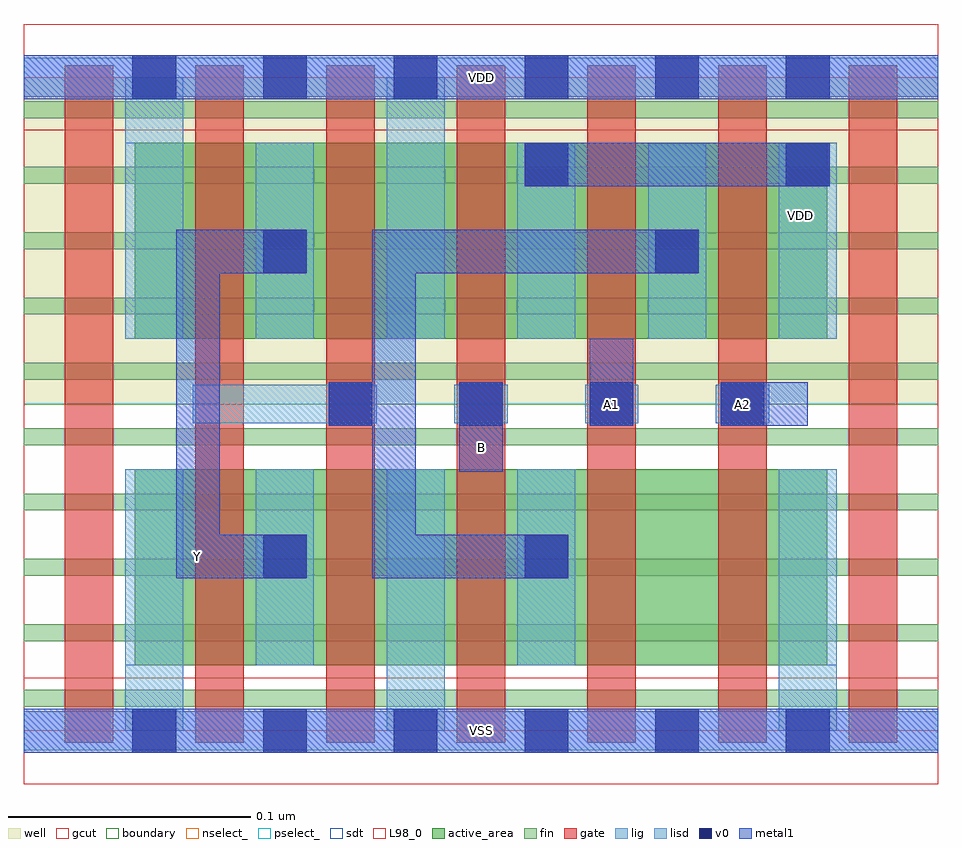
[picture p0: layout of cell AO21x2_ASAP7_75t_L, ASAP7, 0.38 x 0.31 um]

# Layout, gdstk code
import gdstk
lib = gdstk.Library(unit=1e-6, precision=2.5e-10)
def R(c, l, rs):  # rectangles x0, y0, x1, y1
    for r in rs: c.add(gdstk.rectangle(r[:2], r[2:], *l))
def A(c, l, x, y, w, h, nx, ny, dx, dy):  # array of equal rectangles
    R(c, l, [(x+i*dx, y+j*dy, x+i*dx+w, y+j*dy+h) for i in range(nx) for j in range(ny)])
def P(c, l, *ps):  # polygons
    for p in ps: c.add(gdstk.Polygon(p, *l))
well = (1, 0)
fin = (2, 0)
gate = (7, 0)
gcut = (10, 0)
active_area = (11, 0)
nselect_ = (12, 0)
pselect_ = (13, 0)
lig = (16, 0)
lisd = (17, 0)
v0 = (18, 0)
metal1 = (19, 0)
sdt = (88, 0)
L98_0 = (98, 0)
boundary = (100, 0)

ao21x2_asap7_75t_l = lib.new_cell('AO21x2_ASAP7_75t_L')
R(ao21x2_asap7_75t_l, well, [(0,0.135,0.378,0.27)])
A(ao21x2_asap7_75t_l, fin, 0, 0.01, 0.378, 0.007, 1, 10, 0, 0.027)
A(ao21x2_asap7_75t_l, gate, 0.017, -0.005, 0.02, 0.28, 7, 1, 0.054, 0)
R(ao21x2_asap7_75t_l, gcut, [(0,-0.022,0.378,0.022), (0,0.248,0.378,0.292)])
R(ao21x2_asap7_75t_l, active_area, [(0.046,0.027,0.332,0.108), (0.046,0.162,0.332,0.243)])
R(ao21x2_asap7_75t_l, nselect_, [(0,0,0.378,0.135)])
R(ao21x2_asap7_75t_l, pselect_, [(0,0.135,0.378,0.27)])
A(ao21x2_asap7_75t_l, lig, 0.178, 0.127, 0.022, 0.016, 3, 1, 0.054, 0)
R(ao21x2_asap7_75t_l, lig, [(0,-0.008,0.378,0.008), (0.07,0.127,0.146,0.143), (0,0.262,0.378,0.278)])
A(ao21x2_asap7_75t_l, lisd, 0.204, 0.162, 0.024, 0.081, 3, 1, 0.054, 0)
R(ao21x2_asap7_75t_l, lisd, [(0.042,0,0.066,0.108), (0.15,0,0.174,0.108), (0.312,0,0.336,0.108), (0.096,0.027,0.12,0.108), (0.204,0.027,0.228,0.108), (0.042,0.162,0.066,0.27), (0.096,0.162,0.12,0.243), (0.15,0.162,0.174,0.27)])
A(ao21x2_asap7_75t_l, v0, 0.045, -0.009, 0.018, 0.018, 6, 2, 0.054, 0.27)
A(ao21x2_asap7_75t_l, v0, 0.126, 0.126, 0.018, 0.018, 4, 1, 0.054, 0)
R(ao21x2_asap7_75t_l, v0, [(0.099,0.063,0.117,0.081), (0.207,0.063,0.225,0.081), (0.099,0.189,0.117,0.207), (0.261,0.189,0.279,0.207), (0.207,0.225,0.225,0.243), (0.315,0.225,0.333,0.243)])
R(ao21x2_asap7_75t_l, metal1, [(0,-0.009,0.378,0.009), (0.18,0.107,0.198,0.144), (0.234,0.126,0.252,0.162), (0.288,0.126,0.324,0.144), (0.207,0.225,0.333,0.243), (0,0.261,0.378,0.279)])
P(ao21x2_asap7_75t_l, metal1, [(0.144,0.063),(0.144,0.126),(0.126,0.126),(0.126,0.144),(0.144,0.144),(0.144,0.207),(0.279,0.207),(0.279,0.189),(0.162,0.189),(0.162,0.081),(0.225,0.081),(0.225,0.063)],
  [(0.063,0.063),(0.063,0.207),(0.117,0.207),(0.117,0.189),(0.081,0.189),(0.081,0.081),(0.117,0.081),(0.117,0.063)])
A(ao21x2_asap7_75t_l, sdt, 0.042, 0.027, 0.024, 0.081, 4, 1, 0.054, 0)
A(ao21x2_asap7_75t_l, sdt, 0.042, 0.162, 0.024, 0.081, 6, 1, 0.054, 0)
R(ao21x2_asap7_75t_l, sdt, [(0.312,0.027,0.336,0.108)])
R(ao21x2_asap7_75t_l, L98_0, [(0,0,0.378,0.27)])
R(ao21x2_asap7_75t_l, boundary, [(0,0,0.378,0.27)])
ao21x2_asap7_75t_l.add(gdstk.Label('Y', (0.072,0.072), layer=19, texttype=251))
ao21x2_asap7_75t_l.add(gdstk.Label('B', (0.189,0.117), layer=19, texttype=251))
ao21x2_asap7_75t_l.add(gdstk.Label('A2', (0.297,0.135), layer=19, texttype=251))
ao21x2_asap7_75t_l.add(gdstk.Label('A1', (0.243,0.135), layer=19, texttype=251))
ao21x2_asap7_75t_l.add(gdstk.Label('VSS', (0.189,0), layer=19, texttype=251))
ao21x2_asap7_75t_l.add(gdstk.Label('VDD', (0.189,0.27), layer=19, texttype=251))
ao21x2_asap7_75t_l.add(gdstk.Label('VDD', (0.321,0.213), layer=1, texttype=251))
ao21x2_asap7_75t_l.add(gdstk.Label('VSS', (0.435,0.213), layer=3, texttype=251))

lib.write_gds('AO21x2_ASAP7_75t_L.gds')
